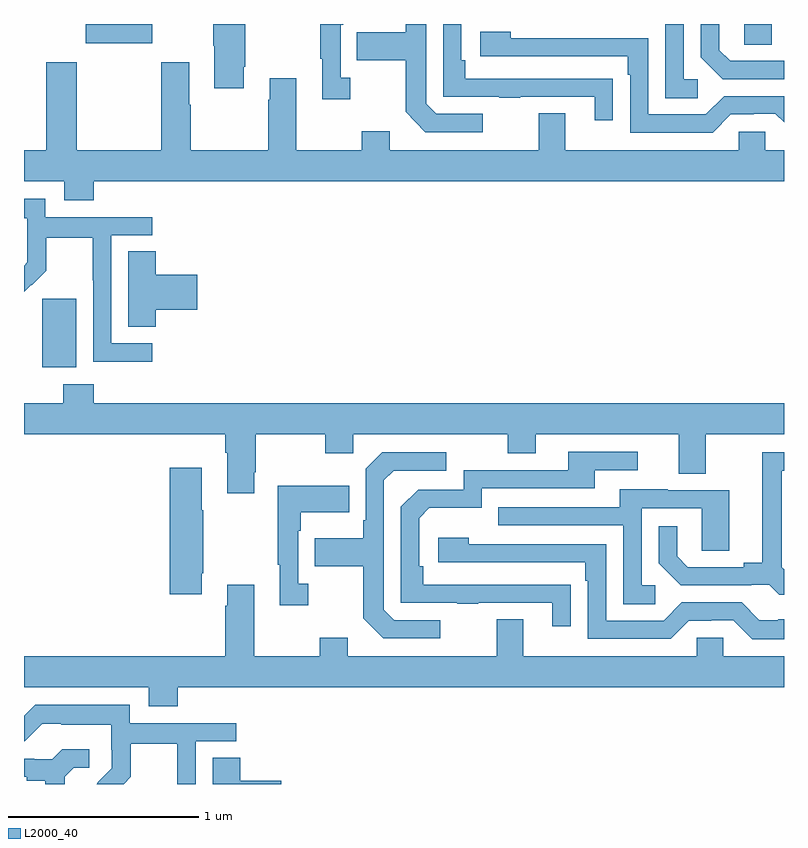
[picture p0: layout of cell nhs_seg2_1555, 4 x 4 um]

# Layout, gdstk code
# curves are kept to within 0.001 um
import gdstk
lib = gdstk.Library(unit=1e-6, precision=1e-09)
def R(c, l, rs):  # rectangles x0, y0, x1, y1
    for r in rs: c.add(gdstk.rectangle(r[:2], r[2:], *l))
def P(c, l, *ps):  # polygons
    for p in ps: c.add(gdstk.Polygon(p, *l))
L2000_40 = (2000, 40)

nhs_seg2_1555 = lib.new_cell('nhs_seg2_1555')
R(nhs_seg2_1555, L2000_40, [(191.096,643.994,191.275,644.355), (194.79,645.691,194.935,645.8), (191.324,645.698,191.674,645.8)])
P(nhs_seg2_1555, L2000_40, [(194.545,645.51),(194.472,645.51),(194.472,645.8),(194.376,645.8),(194.376,645.409),(194.545,645.409)],
  [(192.157,645.574),(192.165,645.574),(192.165,645.8),(191.995,645.8),(191.995,645.685),(192.002,645.685),(192.002,645.462),(192.157,645.462)],
  [(195,645.606),(194.716,645.606),(194.659,645.663),(194.659,645.8),(194.562,645.8),(194.562,645.626),(194.678,645.51),(195,645.51)],
  [(192.718,645.518),(192.666,645.518),(192.666,645.797),(192.679,645.797),(192.679,645.8),(192.558,645.8),(192.558,645.617),(192.569,645.617),(192.569,645.405),(192.718,645.405)],
  [(193.414,645.327),(193.17,645.327),(193.116,645.381),(193.116,645.8),(193.008,645.8),(193.008,645.757),(192.751,645.757),(192.751,645.61),(193.008,645.61),(193.008,645.337),(193.113,645.231),(193.414,645.231)],
  [(194.099,645.512),(193.997,645.512),(193.997,645.513),(193.322,645.513),(193.322,645.61),(193.302,645.61),(193.302,645.8),(193.206,645.8),(193.206,645.417),(193.501,645.417),(193.501,645.412),(193.613,645.412),(193.613,645.417),(194.003,645.417),(194.003,645.294),(194.099,645.294)],
  [(194.721,645.324),(194.84,645.324),(194.84,645.327),(194.955,645.327),(195,645.282),(195,645.42),(194.685,645.42),(194.589,645.324),(194.286,645.324),(194.286,645.726),(193.562,645.726),(193.562,645.76),(193.401,645.76),(193.401,645.63),(194.177,645.63),(194.177,645.533),(194.19,645.533),(194.19,645.228),(194.625,645.228)],
  [(195,645.136),(194.901,645.136),(194.901,645.234),(194.763,645.234),(194.763,645.136),(193.849,645.136),(193.849,645.331),(193.709,645.331),(193.709,645.136),(192.925,645.136),(192.925,645.235),(192.778,645.235),(192.778,645.136),(192.433,645.136),(192.433,645.514),(192.293,645.514),(192.293,645.401),(192.286,645.401),(192.286,645.136),(191.877,645.136),(191.877,645.374),(191.869,645.374),(191.869,645.598),(191.722,645.598),(191.722,645.136),(191.277,645.136),(191.277,645.598),(191.117,645.598),(191.117,645.136),(191,645.136),(191,644.972),(191.213,644.972),(191.213,644.873),(191.366,644.873),(191.366,644.972),(195,644.972)],
  [(191.674,644.121),(191.46,644.121),(191.46,644.688),(191.674,644.688),(191.674,644.784),(191.112,644.784),(191.112,644.881),(191,644.881),(191,644.777),(191.016,644.777),(191.016,644.643),(191.018,644.643),(191.018,644.546),(191,644.528),(191,644.39),(191.037,644.427),(191.04,644.424),(191.117,644.501),(191.117,644.676),(191.362,644.676),(191.362,644.452),(191.364,644.452),(191.364,644.023),(191.674,644.023)],
  [(191.693,644.297),(191.911,644.297),(191.911,644.48),(191.693,644.48),(191.693,644.603),(191.549,644.603),(191.549,644.206),(191.693,644.206)],
  [(192.211,643.441),(192.219,643.441),(192.219,643.64),(192.586,643.64),(192.586,643.541),(192.732,643.541),(192.732,643.64),(193.546,643.64),(193.546,643.541),(193.693,643.541),(193.693,643.64),(194.447,643.64),(194.447,643.432),(194.587,643.432),(194.587,643.64),(195,643.64),(195,643.804),(191.366,643.804),(191.366,643.903),(191.206,643.903),(191.206,643.804),(191,643.804),(191,643.64),(192.059,643.64),(192.059,643.544),(192.071,643.544),(192.071,643.329),(192.211,643.329)],
  [(193.877,642.848),(193.1,642.849),(193.1,642.946),(193.08,642.946),(193.08,643.2),(193.133,643.253),(193.41,643.253),(193.41,643.356),(194.005,643.356),(194.005,643.452),(194.23,643.452),(194.23,643.548),(193.865,643.548),(193.865,643.452),(193.314,643.452),(193.314,643.35),(193.074,643.35),(192.984,643.26),(192.984,642.753),(193.279,642.753),(193.279,642.748),(193.391,642.748),(193.391,642.753),(193.781,642.753),(193.781,642.63),(193.877,642.63)],
  [(193.192,642.663),(192.948,642.663),(192.894,642.717),(192.894,643.398),(192.945,643.449),(193.222,643.449),(193.222,643.545),(192.885,643.545),(192.798,643.458),(192.798,643.189),(192.786,643.189),(192.786,643.093),(192.529,643.093),(192.529,642.946),(192.786,642.946),(192.786,642.673),(192.891,642.567),(193.192,642.567)],
  [(195,642.93),(194.989,642.941),(194.989,643.449),(195,643.449),(195,643.545),(194.885,643.545),(194.885,642.965),(194.789,642.965),(194.789,642.942),(194.494,642.942),(194.437,642.999),(194.437,643.156),(194.34,643.156),(194.34,642.962),(194.456,642.846),(194.828,642.846),(194.828,642.849),(194.922,642.849),(194.974,642.797),(195,642.797)],
  [(191.935,642.91),(191.943,642.91),(191.943,643.241),(191.935,643.241),(191.935,643.465),(191.768,643.465),(191.768,642.798),(191.935,642.798)],
  [(192.496,642.854),(192.444,642.854),(192.444,643.133),(192.457,643.133),(192.457,643.229),(192.713,643.229),(192.713,643.369),(192.336,643.369),(192.336,642.953),(192.347,642.953),(192.347,642.741),(192.496,642.741)],
  [(194.323,642.846),(194.25,642.846),(194.25,643.251),(194.568,643.251),(194.568,643.027),(194.713,643.027),(194.713,643.347),(194.389,643.347),(194.389,643.351),(194.135,643.351),(194.135,643.257),(193.495,643.257),(193.495,643.161),(194.154,643.161),(194.154,642.745),(194.323,642.745)],
  [(195,642.667),(194.971,642.667),(194.971,642.663),(194.871,642.663),(194.778,642.756),(194.463,642.756),(194.367,642.66),(194.064,642.66),(194.064,643.062),(193.34,643.062),(193.34,643.096),(193.179,643.096),(193.179,642.966),(193.955,642.966),(193.955,642.869),(193.968,642.869),(193.968,642.564),(194.403,642.564),(194.499,642.66),(194.618,642.66),(194.618,642.663),(194.733,642.663),(194.833,642.563),(195,642.563)],
  [(191.81,642.308),(195,642.308),(195,642.472),(194.679,642.472),(194.679,642.57),(194.541,642.57),(194.541,642.472),(193.627,642.472),(193.627,642.667),(193.487,642.667),(193.487,642.472),(192.703,642.472),(192.703,642.571),(192.556,642.571),(192.556,642.472),(192.211,642.472),(192.211,642.85),(192.071,642.85),(192.071,642.737),(192.059,642.737),(192.059,642.472),(191,642.472),(191,642.308),(191.657,642.308),(191.657,642.209),(191.81,642.209)],
  [(191.561,641.837),(191.561,642.012),(191.806,642.012),(191.806,641.8),(191.904,641.8),(191.904,642.024),(192.118,642.024),(192.118,642.12),(191.556,642.12),(191.556,642.217),(191.059,642.217),(191,642.158),(191,642.024),(191.004,642.024),(191.097,642.117),(191.197,642.117),(191.197,642.113),(191.46,642.113),(191.46,641.979),(191.462,641.979),(191.462,641.882),(191.388,641.808),(191.389,641.807),(191.382,641.8),(191.524,641.8)],
  [(191.215,641.839),(191.262,641.886),(191.344,641.886),(191.344,641.983),(191.2,641.983),(191.148,641.931),(191.054,641.931),(191.054,641.934),(191,641.934),(191,641.838),(191.015,641.838),(191.015,641.816),(191.111,641.816),(191.111,641.8),(191.215,641.8)],
  [(192.355,641.816),(192.137,641.816),(192.137,641.939),(191.993,641.939),(191.993,641.8),(192.355,641.8)])

lib.write_gds('nhs_seg2_1555.gds')
